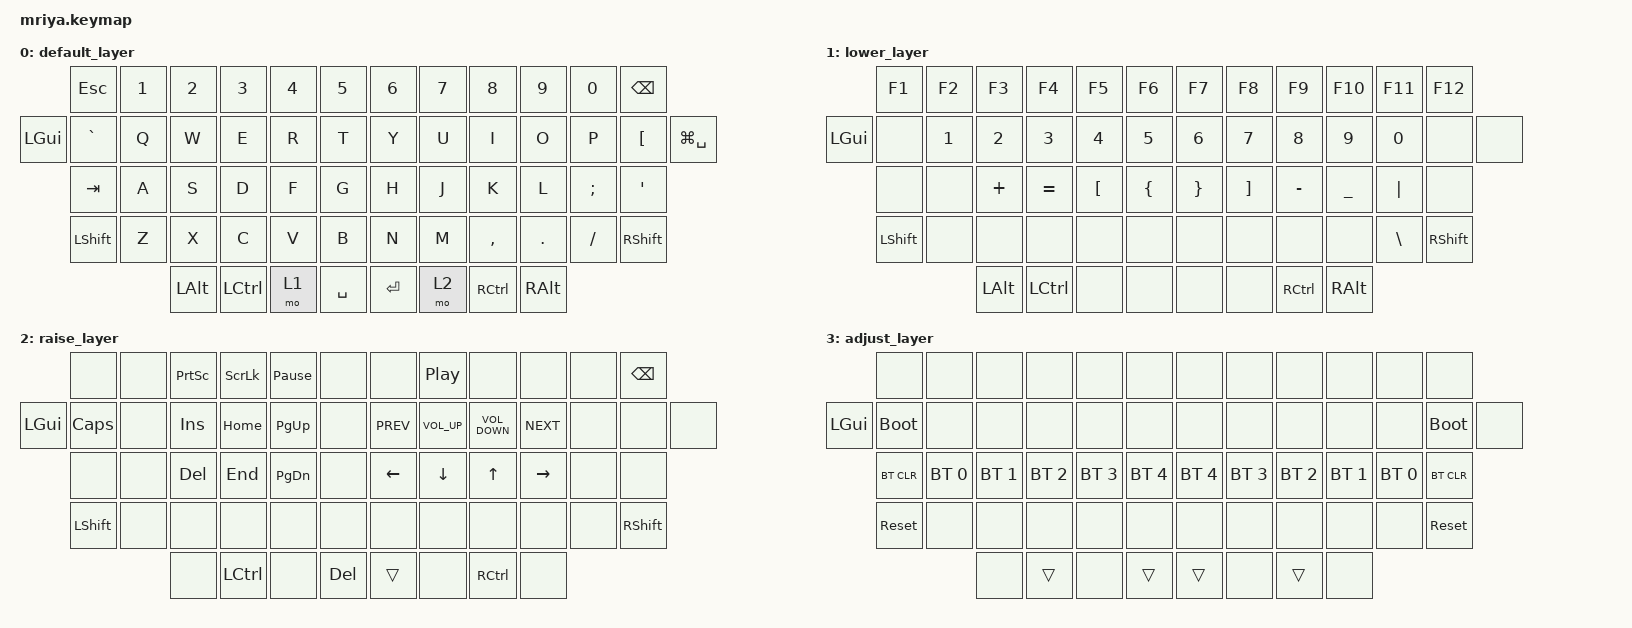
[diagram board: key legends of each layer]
/*
 * Copyright (c) 2023 Andrei Gaevskii
 *
 * SPDX-License-Identifier: MIT
 */

#include <behaviors.dtsi>
#include <dt-bindings/zmk/bt.h>
#include <dt-bindings/zmk/keys.h>

#define DEF 0
#define LWR 1
#define RSE 2
#define ADJ 3

&lt { quick_tap_ms = <200>; };

&mt { quick_tap_ms = <200>; };

/ {
    keymap {
        compatible = "zmk,keymap";

        default_layer {
            bindings = <
              &kp ESCAPE      &kp NUMBER_1  &kp NUMBER_2  &kp N3            &kp N4  &kp N5       &kp N6     &kp N7  &kp N8             &kp N9         &kp N0    &kp BACKSPACE
&kp LEFT_GUI  &kp GRAVE       &kp Q         &kp W         &kp E             &kp R   &kp T        &kp Y      &kp U   &kp I              &kp O          &kp P     &kp LBKT         &kp LG(SPACE)
              &kp TAB         &kp A         &kp S         &kp D             &kp F   &kp G        &kp H      &kp J   &kp K              &kp L          &kp SEMI  &kp SQT
              &kp LEFT_SHIFT  &kp Z         &kp X         &kp C             &kp V   &kp B        &kp N      &kp M   &kp COMMA          &kp DOT        &kp FSLH  &kp RIGHT_SHIFT
                                            &kp LEFT_ALT  &kp LEFT_CONTROL  &mo 1   &kp SPACE    &kp ENTER  &mo 2   &kp RIGHT_CONTROL  &kp RIGHT_ALT
            >;
        };

        lower_layer {
            bindings = <
              &kp F1          &kp F2        &kp F3        &kp F4            &kp F5            &kp F6            &kp F7           &kp F8             &kp F9             &kp F10         &kp F11        &kp F12
&kp LEFT_GUI  &none           &kp NUMBER_1  &kp NUMBER_2  &kp NUMBER_3      &kp NUMBER_4      &kp N5            &kp NUMBER_6     &kp N7             &kp N8             &kp N9          &kp N0         &none            &none
              &none           &none         &kp PLUS      &kp EQUAL         &kp LEFT_BRACKET  &kp LEFT_BRACE    &kp RIGHT_BRACE  &kp RIGHT_BRACKET  &kp MINUS          &kp UNDERSCORE  &kp PIPE       &none
              &kp LEFT_SHIFT  &none         &none         &none             &none             &none             &none            &none              &none              &none           &kp BACKSLASH  &kp RIGHT_SHIFT
                                            &kp LEFT_ALT  &kp LEFT_CONTROL  &none             &none             &none            &none              &kp RIGHT_CONTROL  &kp RIGHT_ALT
            >;
        };

        raise_layer {
            bindings = <
              &none           &none  &kp PRINTSCREEN  &kp SCROLLLOCK    &kp PAUSE_BREAK  &none         &none           &kp C_PLAY_PAUSE  &none              &none       &none  &kp BACKSPACE
&kp LEFT_GUI  &kp CAPSLOCK    &none  &kp INSERT       &kp HOME          &kp PAGE_UP      &none         &kp C_PREV      &kp C_VOLUME_UP   &kp C_VOLUME_DOWN  &kp C_NEXT  &none  &none            &none
              &none           &none  &kp DELETE       &kp END           &kp PAGE_DOWN    &none         &kp LEFT_ARROW  &kp DOWN_ARROW    &kp UP             &kp RIGHT   &none  &none
              &kp LEFT_SHIFT  &none  &none            &none             &none            &none         &none           &none             &none              &none       &none  &kp RIGHT_SHIFT
                                     &none            &kp LEFT_CONTROL  &none            &kp DELETE    &trans          &none             &kp RIGHT_CONTROL  &none
            >;
        };

        adjust_layer {
            bindings = <
              &none        &none         &none         &none         &none         &none           &none         &none         &none         &none         &none         &none
&kp LEFT_GUI  &bootloader  &none         &none         &none         &none         &none           &none         &none         &none         &none         &none         &bootloader  &none
              &bt BT_CLR   &bt BT_SEL 0  &bt BT_SEL 1  &bt BT_SEL 2  &bt BT_SEL 3  &bt BT_SEL 4    &bt BT_SEL 4  &bt BT_SEL 3  &bt BT_SEL 2  &bt BT_SEL 1  &bt BT_SEL 0  &bt BT_CLR
              &sys_reset   &none         &none         &none         &none         &none           &none         &none         &none         &none         &none         &sys_reset
                                         &none         &trans        &none         &trans          &trans        &none         &trans        &none
            >;
        };
    };
};
